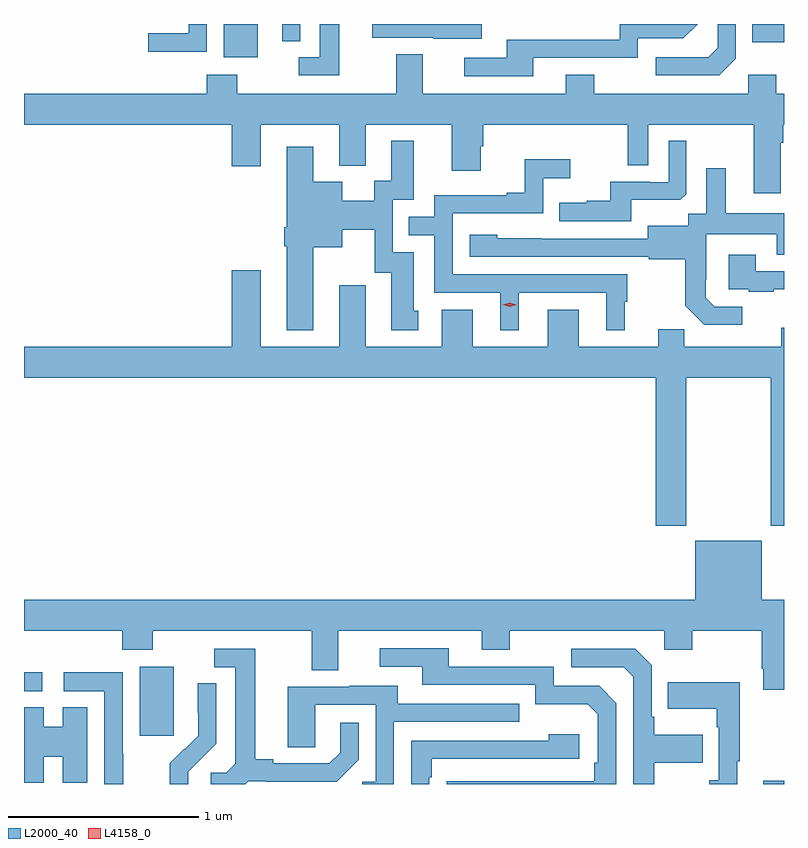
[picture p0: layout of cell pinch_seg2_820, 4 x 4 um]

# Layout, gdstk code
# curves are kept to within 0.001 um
import gdstk
lib = gdstk.Library(unit=1e-6, precision=1e-09)
def R(c, l, rs):  # rectangles x0, y0, x1, y1
    for r in rs: c.add(gdstk.rectangle(r[:2], r[2:], *l))
def P(c, l, *ps):  # polygons
    for p in ps: c.add(gdstk.Polygon(p, *l))
L2000_40 = (2000, 40)
L4158_0 = (4158, 0)

pinch_seg2_820 = lib.new_cell('pinch_seg2_820')
R(pinch_seg2_820, L2000_40, [(871.235,592.218,871.345,592.234), (867.953,592.473,868.132,592.834), (867.345,592.707,867.442,592.806), (868.397,596.042,868.576,596.218), (871.177,596.123,871.345,596.218), (868.704,596.128,868.8,596.218)])
P(pinch_seg2_820, L2000_40, [(869.755,596.218),(869.177,596.218),(869.177,596.145),(869.501,596.145),(869.501,596.141),(869.755,596.141)],
  [(870.025,596.04),(870.576,596.04),(870.576,596.142),(870.816,596.142),(870.892,596.218),(870.48,596.218),(870.48,596.136),(869.885,596.136),(869.885,596.04),(869.661,596.04),(869.661,595.944),(870.025,595.944)],
  [(868.308,596.218),(868.212,596.218),(868.212,596.169),(867.999,596.169),(867.999,596.071),(868.308,596.071)],
  [(869.005,596.218),(868.901,596.218),(868.901,596.043),(868.791,596.043),(868.791,595.947),(869.005,595.947)],
  [(871.092,596.034),(871.092,596.218),(870.996,596.218),(870.996,596.094),(870.945,596.043),(870.669,596.043),(870.669,595.947),(871.005,595.947)],
  [(871.327,595.592),(871.34,595.592),(871.34,595.688),(871.345,595.688),(871.345,595.852),(871.305,595.852),(871.305,595.951),(871.158,595.951),(871.158,595.852),(870.345,595.852),(870.345,595.951),(870.197,595.951),(870.197,595.852),(869.443,595.852),(869.443,596.06),(869.303,596.06),(869.303,595.852),(868.467,595.852),(868.467,595.951),(868.307,595.951),(868.307,595.852),(867.345,595.852),(867.345,595.688),(868.439,595.688),(868.439,595.47),(868.591,595.47),(868.591,595.688),(869.003,595.688),(869.003,595.472),(869.143,595.472),(869.143,595.688),(869.597,595.688),(869.597,595.446),(869.749,595.446),(869.749,595.575),(869.762,595.575),(869.762,595.688),(870.522,595.688),(870.522,595.474),(870.63,595.474),(870.63,595.688),(871.187,595.688),(871.187,595.326),(871.327,595.326)],
  [(870.541,595.292),(870.799,595.292),(870.831,595.323),(870.831,595.603),(870.738,595.603),(870.738,595.386),(870.638,595.386),(870.638,595.389),(870.431,595.389),(870.431,595.288),(870.307,595.288),(870.307,595.276),(870.163,595.276),(870.163,595.179),(870.541,595.179)],
  [(868.867,595.043),(869.02,595.043),(869.02,595.136),(869.19,595.136),(869.19,594.909),(869.279,594.909),(869.279,594.606),(869.419,594.606),(869.419,594.708),(869.395,594.708),(869.395,595.017),(869.286,595.017),(869.286,595.293),(869.395,595.293),(869.395,595.603),(869.279,595.603),(869.279,595.394),(869.189,595.394),(869.189,595.288),(869.02,595.288),(869.02,595.387),(868.867,595.387),(868.867,595.573),(868.727,595.573),(868.727,595.147),(868.715,595.147),(868.715,595.047),(868.727,595.047),(868.727,594.605),(868.867,594.605)],
  [(869.95,594.804),(870.41,594.804),(870.41,594.605),(870.508,594.605),(870.508,594.756),(870.52,594.756),(870.52,594.9),(869.601,594.9),(869.601,595.221),(870.078,595.221),(870.078,595.406),(870.22,595.406),(870.22,595.505),(869.98,595.505),(869.98,595.33),(869.885,595.33),(869.885,595.317),(869.505,595.317),(869.505,595.203),(869.371,595.203),(869.371,595.107),(869.505,595.107),(869.505,594.804),(869.852,594.804),(869.852,594.605),(869.95,594.605)],
  [(871.126,594.729),(870.981,594.729),(870.934,594.776),(870.934,594.871),(870.936,594.871),(870.936,595.112),(871.307,595.112),(871.307,595.003),(871.345,595.003),(871.345,595.222),(871.039,595.222),(871.039,595.459),(870.935,595.459),(870.935,595.22),(870.84,595.22),(870.84,595.156),(870.629,595.156),(870.629,595.089),(869.835,595.09),(869.835,595.108),(869.691,595.108),(869.691,594.993),(870.633,594.993),(870.633,594.981),(870.825,594.981),(870.825,594.735),(870.925,594.635),(871.126,594.635)],
  [(871.291,594.821),(871.345,594.821),(871.345,594.918),(871.195,594.918),(871.195,595.003),(871.055,595.003),(871.055,594.822),(871.159,594.822),(871.159,594.81),(871.291,594.81)],
  [(870.831,594.356),(871.276,594.356),(871.276,593.577),(871.345,593.577),(871.345,594.619),(871.331,594.619),(871.331,594.52),(870.821,594.52),(870.821,594.611),(870.683,594.611),(870.683,594.52),(870.265,594.52),(870.265,594.715),(870.101,594.715),(870.101,594.52),(869.707,594.52),(869.707,594.715),(869.543,594.715),(869.543,594.52),(869.143,594.52),(869.143,594.844),(869.003,594.844),(869.003,594.52),(868.591,594.52),(868.591,594.922),(868.439,594.922),(868.439,594.52),(867.345,594.52),(867.345,594.356),(870.671,594.356),(870.671,593.577),(870.831,593.577)],
  [(871.345,593.188),(871.228,593.188),(871.228,593.497),(870.878,593.497),(870.878,593.188),(867.345,593.188),(867.345,593.024),(867.863,593.024),(867.863,592.925),(868.023,592.925),(868.023,593.024),(868.859,593.024),(868.859,592.816),(868.999,592.816),(868.999,593.024),(869.753,593.024),(869.753,592.925),(869.901,592.925),(869.901,593.024),(870.714,593.024),(870.714,592.925),(870.861,592.925),(870.861,593.024),(871.228,593.024),(871.228,592.825),(871.235,592.825),(871.235,592.713),(871.345,592.713)],
  [(870.462,592.644),(870.372,592.734),(870.132,592.734),(870.132,592.836),(869.581,592.836),(869.581,592.932),(869.217,592.932),(869.217,592.836),(869.441,592.836),(869.441,592.74),(870.036,592.74),(870.036,592.637),(870.313,592.637),(870.366,592.584),(870.366,592.33),(870.346,592.33),(870.346,592.233),(869.569,592.232),(869.569,592.218),(870.462,592.218)],
  [(868.524,592.233),(868.618,592.233),(868.618,592.23),(868.99,592.23),(869.106,592.346),(869.106,592.54),(869.009,592.54),(869.009,592.383),(868.952,592.326),(868.657,592.326),(868.657,592.349),(868.561,592.349),(868.561,592.929),(868.347,592.929),(868.347,592.833),(868.457,592.833),(868.457,592.325),(868.41,592.278),(868.329,592.278),(868.329,592.218),(868.509,592.218)],
  [(870.661,592.33),(870.917,592.33),(870.917,592.477),(870.661,592.477),(870.661,592.573),(870.648,592.573),(870.648,592.842),(870.561,592.929),(870.225,592.929),(870.225,592.833),(870.501,592.833),(870.552,592.782),(870.552,592.218),(870.661,592.218)],
  [(867.867,592.376),(867.864,592.376),(867.864,592.806),(867.555,592.806),(867.555,592.707),(867.768,592.707),(867.768,592.218),(867.867,592.218)],
  [(871.099,592.337),(871.111,592.337),(871.111,592.753),(870.733,592.753),(870.733,592.613),(870.99,592.613),(870.99,592.517),(871.002,592.517),(871.002,592.238),(870.951,592.238),(870.951,592.218),(871.099,592.218)],
  [(868.21,592.282),(868.356,592.43),(868.356,592.748),(868.26,592.748),(868.26,592.594),(868.262,592.594),(868.262,592.472),(868.191,592.401),(868.188,592.404),(868.111,592.327),(868.111,592.218),(868.21,592.218)],
  [(869.292,592.545),(869.951,592.545),(869.951,592.641),(869.311,592.641),(869.311,592.735),(869.057,592.735),(869.057,592.731),(868.733,592.731),(868.733,592.411),(868.878,592.411),(868.878,592.635),(869.196,592.635),(869.196,592.23),(869.124,592.23),(869.124,592.218),(869.292,592.218)],
  [(867.448,592.361),(867.548,592.361),(867.548,592.225),(867.679,592.225),(867.679,592.622),(867.548,592.622),(867.548,592.519),(867.448,592.519),(867.448,592.622),(867.345,592.622),(867.345,592.225),(867.448,592.225)],
  [(869.478,592.253),(869.491,592.253),(869.491,592.35),(870.268,592.35),(870.268,592.48),(870.107,592.48),(870.107,592.446),(869.382,592.446),(869.382,592.218),(869.478,592.218)])
P(pinch_seg2_820, L4158_0, [(869.901,594.731),(869.866,594.741),(869.865,594.741),(869.866,594.741),(869.901,594.751),(869.936,594.741),(869.937,594.741),(869.936,594.741)])

lib.write_gds('pinch_seg2_820.gds')
